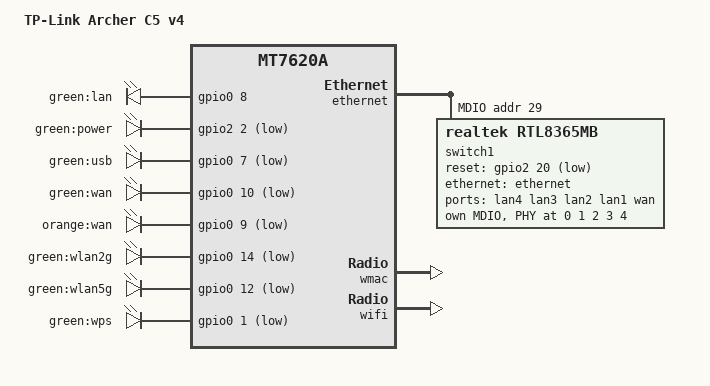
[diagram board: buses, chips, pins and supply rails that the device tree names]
// SPDX-License-Identifier: GPL-2.0-or-later OR MIT
/dts-v1/;

#include "mt7620a_tplink_archer.dtsi"
#include <dt-bindings/interrupt-controller/irq.h>

/ {
	compatible = "tplink,archer-c5-v4", "ralink,mt7620a-soc";
	model = "TP-Link Archer C5 v4";

	chosen {
		bootargs = "console=ttyUSB0,9600";
	};

	aliases {
		led-boot = &led_power;
		led-failsafe = &led_power;
		led-running = &led_power;
		led-upgrade = &led_power;
		label-mac-device = &ethernet;
	};

	leds {
		compatible = "gpio-leds";

		lan {
			label = "green:lan";
			gpios = <&gpio0 8 GPIO_ACTIVE_HIGH>;
		};

		led_power: power {
			label = "green:power";
			gpios = <&gpio2 2 GPIO_ACTIVE_LOW>;
		};

		usb {
			label = "green:usb";
			gpios = <&gpio0 7 GPIO_ACTIVE_LOW>;
			trigger-sources = <&ohci_port1>, <&ehci_port1>;
			linux,default-trigger = "usbport";
		};

		wan {
			label = "green:wan";
			gpios = <&gpio0 10 GPIO_ACTIVE_LOW>;
		};

		wan_orange {
			label = "orange:wan";
			gpios = <&gpio0 9 GPIO_ACTIVE_LOW>;
		};

		wlan2g {
			label = "green:wlan2g";
			gpios = <&gpio0 14 GPIO_ACTIVE_LOW>;
			linux,default-trigger = "phy1tpt";
		};

		wlan5g {
			label = "green:wlan5g";
			gpios = <&gpio0 12 GPIO_ACTIVE_LOW>;
			linux,default-trigger = "phy0tpt";
		};

		wps {
			label = "green:wps";
			gpios = <&gpio0 1 GPIO_ACTIVE_LOW>;
		};
	};
};

&gpio0 {
	interrupt-controller;
	#interrupt-cells = <2>;
};

&state_default {
	gpio {
		groups = "i2c", "uartf", "ephy", "rgmii2";
		function = "gpio";
	};
};

&ethernet {
	pinctrl-0 = <&rgmii1_pins &mdio_pins>;

	/* Internal switch is used as transparent switch connecting
	   its port6 (CPU) to external switch through port5 */
	/delete-property/ mediatek,portmap;

	/* Currrent realtek DSA driver forces forwarding on CPU */
	mediatek,mac-learn-disable;

	port@5 {
		status = "okay";
		mediatek,fixed-link = <1000 1 1 1>;
		phy-mode = "rgmii";
	};

	mdio0: mdio-bus {
		status = "okay";
	};
};

&mdio0 {
	switch1@29 {

		compatible = "realtek,rtl8365mb";
		reg = <29>;

		reset-gpios = <&gpio2 20 GPIO_ACTIVE_LOW>;

	        switch_intc: interrupt-controller {
			interrupt-parent = <&gpio0>;
			interrupts = <11 IRQ_TYPE_EDGE_FALLING>;
			interrupt-controller;
			#address-cells = <0>;
			#interrupt-cells = <1>;
	        };

		mdio {
			#address-cells = <1>;
			#size-cells = <0>;

			phy0: ethernet-phy@0 {
				reg = <0>;
				interrupt-parent = <&switch_intc>;
				interrupts = <0>;
			};
			phy1: ethernet-phy@1 {
				reg = <1>;
				interrupt-parent = <&switch_intc>;
				interrupts = <1>;
			};
			phy2: ethernet-phy@2 {
				reg = <2>;
				interrupt-parent = <&switch_intc>;
				interrupts = <2>;
			};
			phy3: ethernet-phy@3 {
				reg = <3>;
				interrupt-parent = <&switch_intc>;
				interrupts = <3>;
			};
			phy4: ethernet-phy@4 {
				reg = <4>;
				interrupt-parent = <&switch_intc>;
				interrupts = <4>;
			};
		};

		ports {
			#address-cells = <1>;
			#size-cells = <0>;
			reg = <0>;

			port@0 {
				reg = <0>;
				label = "lan4";
				phy-handle = <&phy0>;
			};

			port@1 {
				reg = <1>;
				label = "lan3";
				phy-handle = <&phy1>;
			};

			port@2 {
				reg = <2>;
				label = "lan2";
				phy-handle = <&phy2>;
			};

			port@3 {
				reg = <3>;
				label = "lan1";
				phy-handle = <&phy3>;
			};

			port@4 {
				reg = <4>;
				label = "wan";
				nvmem-cells = <&macaddr_rom_f100>;
				nvmem-cell-names = "mac-address";
				mac-address-increment = <(1)>;
				phy-handle = <&phy4>;
			};

			port@7 {
				reg = <7>;
				ethernet = <&ethernet>;
				phy-mode = "rgmii";
				tx-internal-delay-ps = <2000>;
				rx-internal-delay-ps = <0>;

				dsa-tag-protocol = "rtl8_4";

				fixed-link {
					speed = <1000>;
					full-duplex;
				};
			};
		};
	};
};

&wmac {
	nvmem-cells = <&macaddr_rom_f100>;
	nvmem-cell-names = "mac-address";
};

&wifi {
	nvmem-cells = <&macaddr_rom_f100>;
	nvmem-cell-names = "mac-address";
	mac-address-increment = <(2)>;
};
